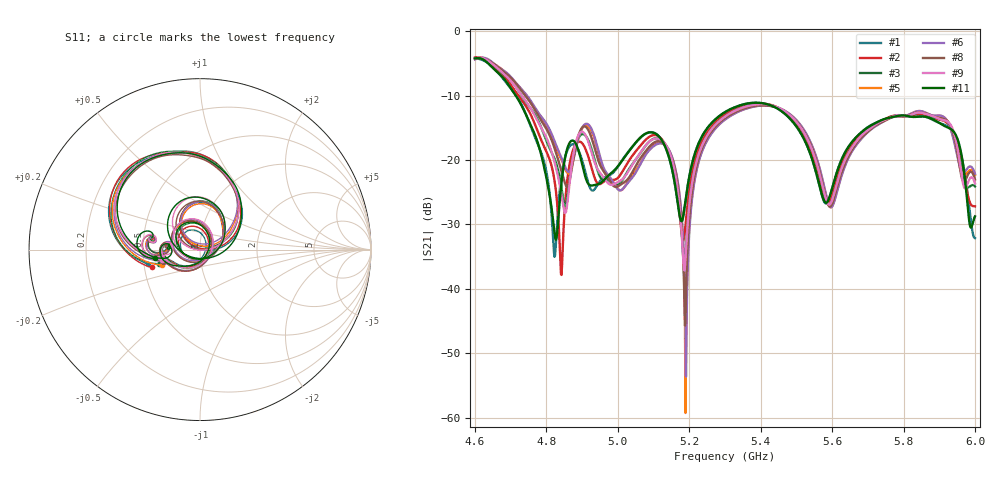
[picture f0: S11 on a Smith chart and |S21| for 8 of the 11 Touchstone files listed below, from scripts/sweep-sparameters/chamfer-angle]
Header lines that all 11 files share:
! TOUCHSTONE file generated by CST MICROWAVE STUDIO
! Project name: test_tuning.cst
! Header version: 2024
! Port assignment regex: !\s*Touchstone port\s*([0-9]+)\s*=\s*(CST MWS port|CST DES external port|CST DES block port)\s*(.+)\s* \(\"(.*)\"\)(\s*mode\s*([0-9]+))?.*
! Touchstone port assignment:
! Touchstone port 1 = CST MWS port 1 ("Input1")
! Touchstone port 2 = CST MWS port 2 ("Input2")
# GHz S MA R 50
Fixed: airCoaxOuterDiameter = 3, chamferWidth = 24, connectorLength = 10, drillingHoleDiameter = 4.1, feedLength = 60, flareDiameter = 130, flareLength = 70, gratingDistance = 0, gratingGap = 1.90274, outletLength = 30, polarizerLength = 134, probe1Diameter = 1.3, probe1Distance = 14, probe1Length = 12, probe2Diameter = 1.3, probe2Distance = 0, probe2Length = 12, probeLength = 12, smaInnerDiameter = 1.3, smaOuterDiameter = 4.1, transitionCoefficient = 1.33, waveguideFeedLength = 30, waveguideSide = 50, waveguideThickness = 3, wireCount = 25, wireDiameter = 1.17699
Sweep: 4.6 GHz to 6 GHz
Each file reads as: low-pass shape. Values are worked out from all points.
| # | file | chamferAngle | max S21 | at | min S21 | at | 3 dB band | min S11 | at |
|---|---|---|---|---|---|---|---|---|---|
| 1 | chamfer_angle_1.s2p | 35 | -4.24 dB | 4.6 GHz | -35.0 dB | 4.823 GHz | 4.6 GHz-4.676 GHz | -53.5 dB | 4.855 GHz |
| 2 | chamfer_angle_2.s2p | 37 | -4.06 dB | 4.606 GHz | -37.9 dB | 4.842 GHz | 4.6 GHz-4.681 GHz | -40.8 dB | 4.866 GHz |
| 3 | chamfer_angle_3.s2p | 39 | -4.16 dB | 4.615 GHz | -36.7 dB | 5.187 GHz | 4.6 GHz-4.691 GHz | -33.8 dB | 4.874 GHz |
| 4 | chamfer_angle_4.s2p | 41 | -4.24 dB | 4.608 GHz | -44.9 dB | 5.188 GHz | 4.6 GHz-4.698 GHz | -43.2 dB | 4.881 GHz |
| 5 | chamfer_angle_5.s2p | 43 | -4.08 dB | 4.614 GHz | -59.3 dB | 5.189 GHz | 4.6 GHz-4.697 GHz | -32.9 dB | 4.886 GHz |
| 6 | chamfer_angle_6.s2p | 45 | -4.12 dB | 4.621 GHz | -53.6 dB | 5.191 GHz | 4.6 GHz-4.699 GHz | -29.3 dB | 4.887 GHz |
| 7 | chamfer_angle_7.s2p | 47 | -4.19 dB | 4.618 GHz | -54.6 dB | 5.189 GHz | 4.6 GHz-4.701 GHz | -27.8 dB | 4.886 GHz |
| 8 | chamfer_angle_8.s2p | 49 | -4.18 dB | 4.614 GHz | -45.7 dB | 5.188 GHz | 4.6 GHz-4.698 GHz | -46.0 dB | 4.88 GHz |
| 9 | chamfer_angle_9.s2p | 51 | -4.11 dB | 4.613 GHz | -37.2 dB | 5.187 GHz | 4.6 GHz-4.688 GHz | -46.9 dB | 4.874 GHz |
| 10 | chamfer_angle_10.s2p | 53 | -4.12 dB | 4.61 GHz | -42.0 dB | 4.844 GHz | 4.6 GHz-4.681 GHz | -42.2 dB | 4.867 GHz |
| 11 | chamfer_angle_11.s2p | 55 | -4.19 dB | 4.608 GHz | -32.4 dB | 4.827 GHz | 4.6 GHz-4.677 GHz | -26.6 dB | 5.322 GHz |
